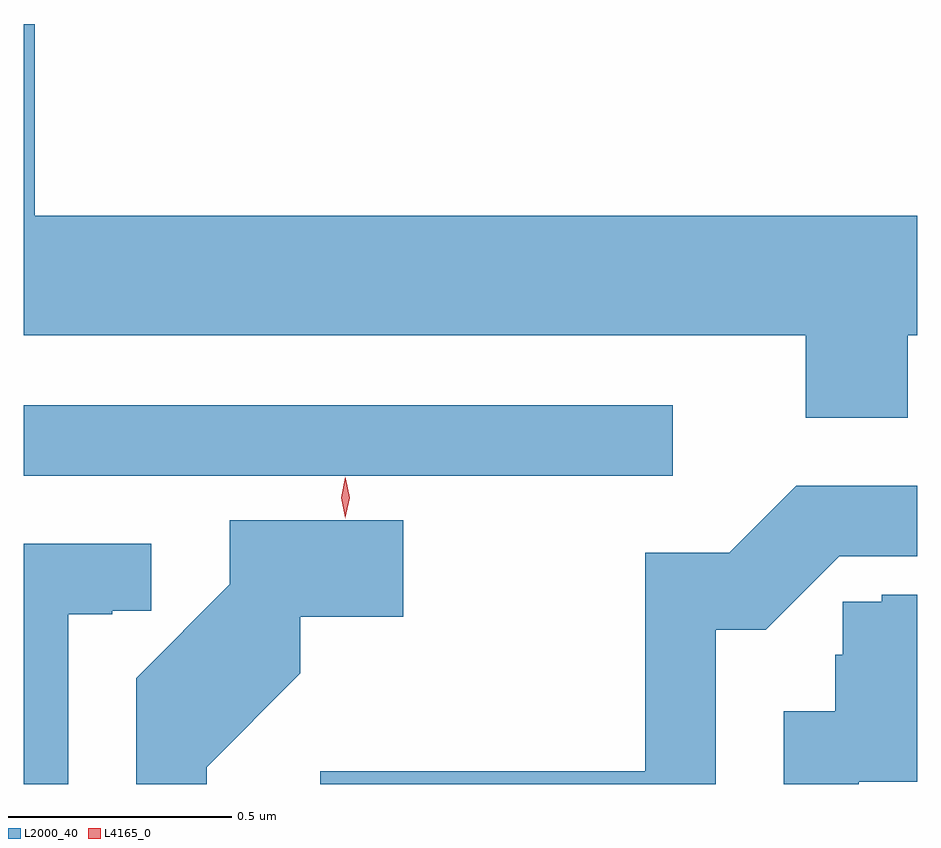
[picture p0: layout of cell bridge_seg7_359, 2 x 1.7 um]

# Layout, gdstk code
import gdstk
lib = gdstk.Library(unit=1e-6, precision=1e-09)
def R(c, l, rs):  # rectangles x0, y0, x1, y1
    for r in rs: c.add(gdstk.rectangle(r[:2], r[2:], *l))
def P(c, l, *ps):  # polygons
    for p in ps: c.add(gdstk.Polygon(p, *l))
L2000_40 = (2000, 40)
L4165_0 = (4165, 0)

bridge_seg7_359 = lib.new_cell('bridge_seg7_359')
R(bridge_seg7_359, L2000_40, [(1107.46,1765.061,1108.913,1765.219)])
P(bridge_seg7_359, L2000_40, [(1109.439,1765.376),(1109.46,1765.376),(1109.46,1765.644),(1107.484,1765.644),(1107.484,1766.073),(1107.46,1766.073),(1107.46,1765.376),(1109.211,1765.376),(1109.211,1765.191),(1109.439,1765.191)],
  [(1109.009,1764.716),(1109.121,1764.716),(1109.286,1764.881),(1109.46,1764.881),(1109.46,1765.039),(1109.189,1765.039),(1109.039,1764.889),(1108.851,1764.889),(1108.851,1764.399),(1108.123,1764.399),(1108.123,1764.371),(1109.009,1764.371)],
  [(1107.869,1764.409),(1108.079,1764.619),(1108.079,1764.746),(1108.309,1764.746),(1108.309,1764.962),(1107.921,1764.962),(1107.921,1764.818),(1107.711,1764.608),(1107.711,1764.371),(1107.869,1764.371)],
  [(1107.559,1764.751),(1107.658,1764.751),(1107.658,1764.759),(1107.745,1764.759),(1107.745,1764.909),(1107.46,1764.909),(1107.46,1764.371),(1107.559,1764.371)],
  [(1109.329,1764.376),(1109.46,1764.376),(1109.46,1764.795),(1109.381,1764.795),(1109.381,1764.779),(1109.294,1764.779),(1109.294,1764.661),(1109.277,1764.661),(1109.277,1764.534),(1109.161,1764.534),(1109.161,1764.371),(1109.329,1764.371)])
P(bridge_seg7_359, L4165_0, [(1108.18,1764.968),(1108.179,1764.969),(1108.17,1765.012),(1108.18,1765.055),(1108.181,1765.056),(1108.181,1765.055),(1108.19,1765.012),(1108.18,1764.969)],
  [(1108.18,1764.966),(1108.179,1764.967),(1108.17,1765.012),(1108.179,1765.058),(1108.18,1765.058),(1108.18,1765.058),(1108.19,1765.012),(1108.18,1764.967)])

lib.write_gds('bridge_seg7_359.gds')
